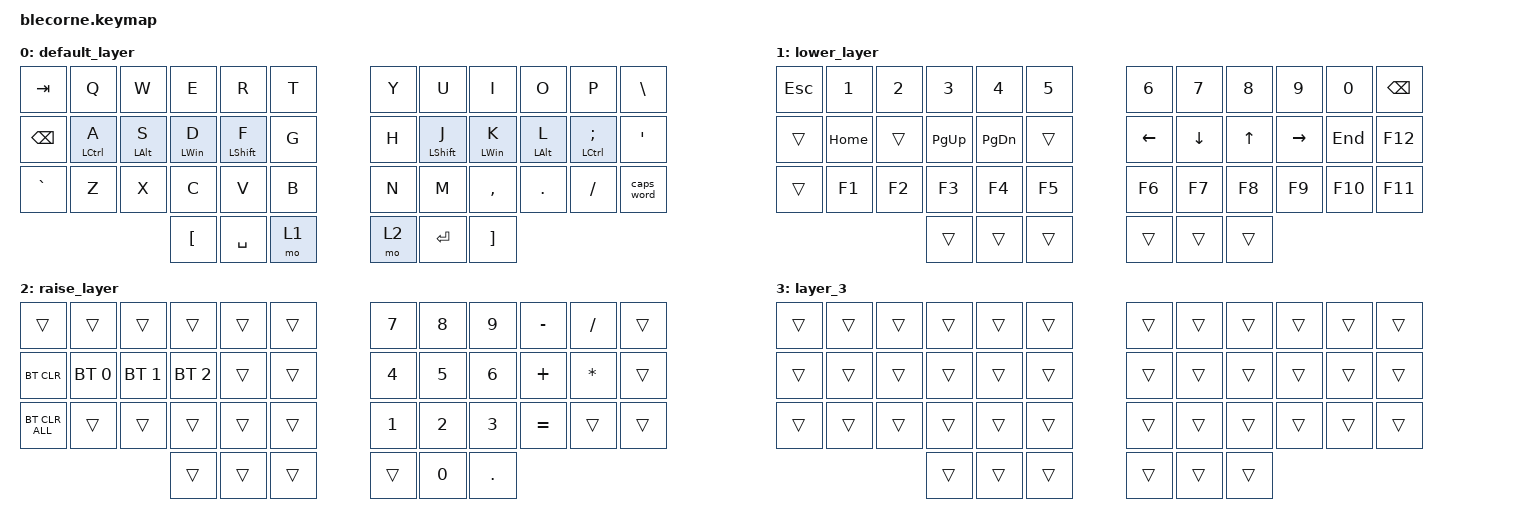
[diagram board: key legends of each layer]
#include <behaviors.dtsi>
#include <dt-bindings/zmk/bt.h>
#include <dt-bindings/zmk/keys.h>

/ {
    behaviors {
        HMR: HMR {
            compatible = "zmk,behavior-hold-tap";
            label = "HMR";
            bindings = <&kp>, <&kp>;

            #binding-cells = <2>;
            tapping-term-ms = <200>;
            quick-tap-ms = <175>;
            flavor = "tap-preferred";
            hold-trigger-on-release;
            hold-trigger-key-positions = <0 1 2 3 4 5 12 0 1 5 12 13 14 15 16 17 24 25 26 27 28 29 36 37 38 39 40 41>;
        };

        HML: HML {
            compatible = "zmk,behavior-hold-tap";
            label = "HML";
            bindings = <&kp>, <&kp>;

            #binding-cells = <2>;
            tapping-term-ms = <200>;
            quick-tap-ms = <175>;
            flavor = "tap-preferred";
            hold-trigger-on-release;
            hold-trigger-key-positions = <6 7 8 9 10 11 18 19 20 21 22 23 30 31 32 33 34 35 39 40 41 38 37 36>;
        };
    };

    keymap {
        compatible = "zmk,keymap";

        default_layer {
            // -----------------------------------------------------------------------------------------
            // |  TAB |  Q  |  W  |  E  |  R  |  T  |   |  Y  |  U   |  I  |  O  |  P  | BKSP |
            // | CTRL |  A  |  S  |  D  |  F  |  G  |   |  H  |  J   |  K  |  L  |  ;  |  '   |
            // | SHFT |  Z  |  X  |  C  |  V  |  B  |   |  N  |  M   |  ,  |  .  |  /  | ESC  |
            //                    | GUI | LWR | SPC |   | ENT | RSE  | ALT |

            bindings = <
&kp TAB        &kp Q         &kp W            &kp E             &kp R              &kp T    &kp Y  &kp U              &kp I              &kp O            &kp P                 &kp BACKSLASH
&kp BACKSPACE  &HML LCTRL A  &HML LEFT_ALT S  &HML LEFT_WIN D   &HML LEFT_SHIFT F  &kp G    &kp H  &HMR LEFT_SHIFT J  &HMR LEFT_WIN K    &HMR LEFT_ALT L  &HMR LCTRL SEMICOLON  &kp SQT
&kp GRAVE      &kp Z         &kp X            &kp C             &kp V              &kp B    &kp N  &kp M              &kp COMMA          &kp DOT          &kp FSLH              &caps_word
                                              &kp LEFT_BRACKET  &kp SPACE          &mo 1    &mo 2  &kp RET            &kp RIGHT_BRACKET
            >;
        };

        lower_layer {
            // -----------------------------------------------------------------------------------------
            // |  TAB |  1  |  2  |  3  |  4  |  5  |   |  6  |  7  |  8  |  9  |  0  | BKSP |
            // | BTCLR| BT1 | BT2 | BT3 | BT4 | BT5 |   | LFT | DWN |  UP | RGT |     |      |
            // | SHFT |     |     |     |     |     |   |     |     |     |     |     |      |
            //                    | GUI |     | SPC |   | ENT |     | ALT |

            bindings = <
&kp ESCAPE  &kp N1    &kp N2  &kp N3     &kp N4     &kp N5    &kp N6    &kp N7    &kp N8  &kp N9     &kp N0   &kp BSPC
&trans      &kp HOME  &trans  &kp PG_UP  &kp PG_DN  &trans    &kp LEFT  &kp DOWN  &kp UP  &kp RIGHT  &kp END  &kp F12
&trans      &kp F1    &kp F2  &kp F3     &kp F4     &kp F5    &kp F6    &kp F7    &kp F8  &kp F9     &kp F10  &kp F11
                              &trans     &trans     &trans    &trans    &trans    &trans
            >;
        };

        raise_layer {
            // -----------------------------------------------------------------------------------------
            // |  TAB |  !  |  @  |  #  |  $  |  %  |   |  ^  |  &  |  *  |  (  |  )  | BKSP |
            // | CTRL |     |     |     |     |     |   |  -  |  =  |  [  |  ]  |  \  |  `   |
            // | SHFT |     |     |     |     |     |   |  _  |  +  |  {  |  }  | "|" |  ~   |
            //                    | GUI |     | SPC |   | ENT |     | ALT |

            bindings = <
&trans          &trans        &trans        &trans        &trans  &trans    &kp NUMBER_7  &kp NUMBER_8  &kp N9        &kp MINUS  &kp SLASH     &trans
&bt BT_CLR      &bt BT_SEL 0  &bt BT_SEL 1  &bt BT_SEL 2  &trans  &trans    &kp NUMBER_4  &kp N5        &kp NUMBER_6  &kp PLUS   &kp ASTERISK  &trans
&bt BT_CLR_ALL  &trans        &trans        &trans        &trans  &trans    &kp NUMBER_1  &kp NUMBER_2  &kp NUMBER_3  &kp EQUAL  &trans        &trans
                                            &trans        &trans  &trans    &trans        &kp N0        &kp PERIOD
            >;
        };

        layer_3 {
            bindings = <
&trans  &trans  &trans  &trans  &trans  &trans    &trans  &trans  &trans  &trans  &trans  &trans
&trans  &trans  &trans  &trans  &trans  &trans    &trans  &trans  &trans  &trans  &trans  &trans
&trans  &trans  &trans  &trans  &trans  &trans    &trans  &trans  &trans  &trans  &trans  &trans
                        &trans  &trans  &trans    &trans  &trans  &trans
            >;
        };
    };
};
